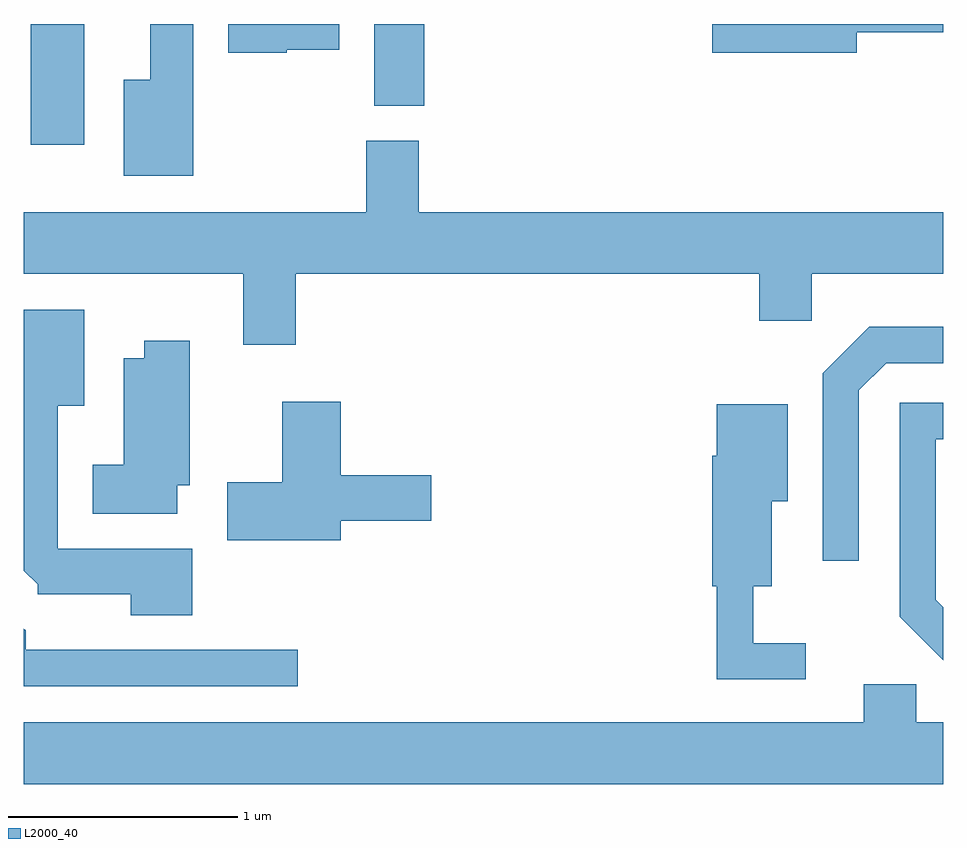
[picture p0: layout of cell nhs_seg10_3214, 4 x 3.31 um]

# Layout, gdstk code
import gdstk
lib = gdstk.Library(unit=1e-6, precision=1e-09)
def R(c, l, rs):  # rectangles x0, y0, x1, y1
    for r in rs: c.add(gdstk.rectangle(r[:2], r[2:], *l))
def P(c, l, *ps):  # polygons
    for p in ps: c.add(gdstk.Polygon(p, *l))
L2000_40 = (2000, 40)

nhs_seg10_3214 = lib.new_cell('nhs_seg10_3214')
R(nhs_seg10_3214, L2000_40, [(279.641,2149.996,279.874,2150.522), (281.136,2150.166,281.354,2150.522)])
P(nhs_seg10_3214, L2000_40, [(280.349,2150.522),(280.161,2150.522),(280.161,2150.279),(280.046,2150.279),(280.046,2149.861),(280.349,2149.861)],
  [(283.234,2150.486),(283.611,2150.486),(283.611,2150.522),(282.606,2150.522),(282.606,2150.396),(283.234,2150.396)],
  [(280.755,2150.411),(280.984,2150.411),(280.984,2150.522),(280.501,2150.522),(280.501,2150.396),(280.755,2150.396)],
  [(280.794,2149.436),(282.811,2149.436),(282.811,2149.231),(283.039,2149.231),(283.039,2149.436),(283.611,2149.436),(283.611,2149.704),(281.329,2149.704),(281.329,2150.014),(281.101,2150.014),(281.101,2149.704),(279.611,2149.704),(279.611,2149.436),(280.566,2149.436),(280.566,2149.126),(280.794,2149.126)],
  [(280.344,2148.239),(279.759,2148.239),(279.759,2148.861),(279.874,2148.861),(279.874,2149.279),(279.611,2149.279),(279.611,2148.144),(279.671,2148.084),(279.671,2148.041),(280.076,2148.041),(280.076,2147.951),(280.344,2147.951)],
  [(283.244,2148.929),(283.362,2149.046),(283.611,2149.046),(283.611,2149.204),(283.289,2149.204),(283.086,2149.002),(283.086,2148.188),(283.244,2148.188)],
  [(280.279,2148.516),(280.334,2148.516),(280.334,2149.144),(280.136,2149.144),(280.136,2149.069),(280.046,2149.069),(280.046,2148.604),(279.911,2148.604),(279.911,2148.391),(280.279,2148.391)],
  [(280.989,2148.361),(281.384,2148.361),(281.384,2148.559),(280.989,2148.559),(280.989,2148.879),(280.736,2148.879),(280.736,2148.529),(280.496,2148.529),(280.496,2148.276),(280.989,2148.276)],
  [(283.611,2147.985),(283.579,2148.017),(283.579,2148.716),(283.611,2148.716),(283.611,2148.874),(283.421,2148.874),(283.421,2147.944),(283.611,2147.754)],
  [(283.013,2147.829),(282.784,2147.829),(282.784,2148.076),(282.864,2148.076),(282.864,2148.446),(282.934,2148.446),(282.934,2148.869),(282.626,2148.869),(282.626,2148.644),(282.606,2148.644),(282.606,2148.076),(282.626,2148.076),(282.626,2147.671),(283.013,2147.671)],
  [(280.803,2147.799),(279.619,2147.799),(279.619,2147.884),(279.611,2147.892),(279.611,2147.641),(280.803,2147.641)],
  [(283.611,2147.484),(283.494,2147.484),(283.494,2147.649),(283.266,2147.649),(283.266,2147.484),(279.611,2147.484),(279.611,2147.216),(283.611,2147.216)])

lib.write_gds('nhs_seg10_3214.gds')
